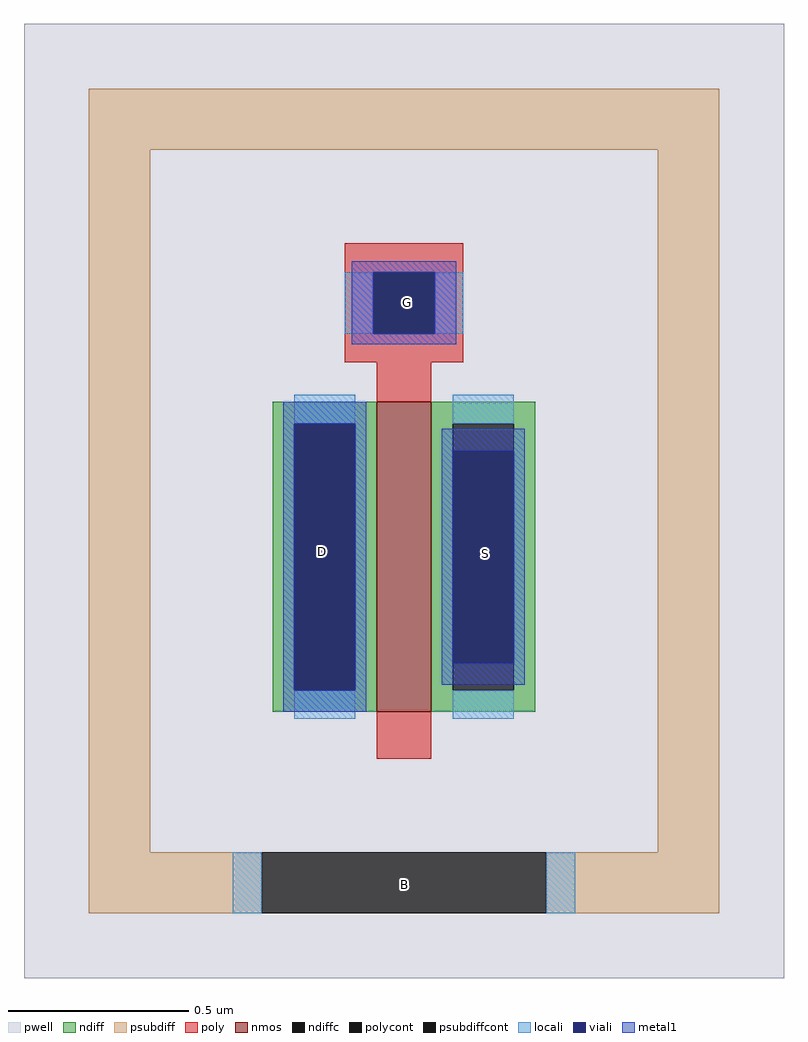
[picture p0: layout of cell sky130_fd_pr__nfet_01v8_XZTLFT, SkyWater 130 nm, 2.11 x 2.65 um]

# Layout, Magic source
magic
tech sky130A
magscale 1 2
<< pwell >>
rect -211 -265 211 265
<< nmos >>
rect -15 -117 15 55
<< ndiff >>
rect -73 43 -15 55
rect -73 -105 -61 43
rect -27 -105 -15 43
rect -73 -117 -15 -105
rect 15 43 73 55
rect 15 -105 27 43
rect 61 -105 73 43
rect 15 -117 73 -105
<< ndiffc >>
rect -61 -105 -27 43
rect 27 -105 61 43
<< psubdiff >>
rect -175 195 175 229
rect -175 -195 -141 195
rect 141 -195 175 195
rect -175 -229 -79 -195
rect 79 -229 175 -195
<< psubdiffcont >>
rect -79 -229 79 -195
<< poly >>
rect -33 127 33 143
rect -33 93 -17 127
rect 17 93 33 127
rect -33 77 33 93
rect -15 55 15 77
rect -15 -143 15 -117
<< polycont >>
rect -17 93 17 127
<< locali >>
rect -33 93 -17 127
rect 17 93 33 127
rect -61 43 -27 59
rect -61 -121 -27 -105
rect 27 43 61 59
rect 27 -121 61 -105
rect -95 -229 -79 -195
rect 79 -229 95 -195
<< viali >>
rect -17 93 17 127
rect -61 -105 -27 43
rect 27 -90 61 28
<< metal1 >>
rect -29 127 29 133
rect -29 93 -17 127
rect 17 93 29 127
rect -29 87 29 93
rect -67 43 -21 55
rect -67 -105 -61 43
rect -27 -105 -21 43
rect 21 28 67 40
rect 21 -90 27 28
rect 61 -90 67 28
rect 21 -102 67 -90
rect -67 -117 -21 -105
<< labels >>
flabel metal1 s -45 -28 -45 -28 0 FreeSans 480 0 0 0 D
port 0 nsew
flabel metal1 s 45 -29 45 -29 0 FreeSans 480 0 0 0 S
port 1 nsew
flabel metal1 s 2 110 2 110 0 FreeSans 480 0 0 0 G
port 2 nsew
flabel locali s 0 -213 0 -213 0 FreeSans 480 0 0 0 B
port 3 nsew
<< properties >>
string FIXED_BBOX -158 -212 158 212
string gencell sky130_fd_pr__nfet_01v8
string library sky130
string parameters w 0.86 l 0.150 m 1 nf 1 diffcov 100 polycov 100 guard 1 glc 0 grc 0 gtc 0 gbc 1 tbcov 100 rlcov 100 topc 1 botc 0 poverlap 0 doverlap 1 lmin 0.15 wmin 0.42 compatible {sky130_fd_pr__nfet_01v8 sky130_fd_pr__nfet_01v8_lvt  sky130_fd_bs_flash__special_sonosfet_star  sky130_fd_pr__nfet_g5v0d10v5 sky130_fd_pr__nfet_05v0_nvt  sky130_fd_pr__nfet_03v3_nvt} full_metal 0 viasrc 80 viadrn 100 viagate 100 viagb 0 viagr 0 viagl 0 viagt 0
<< end >>
